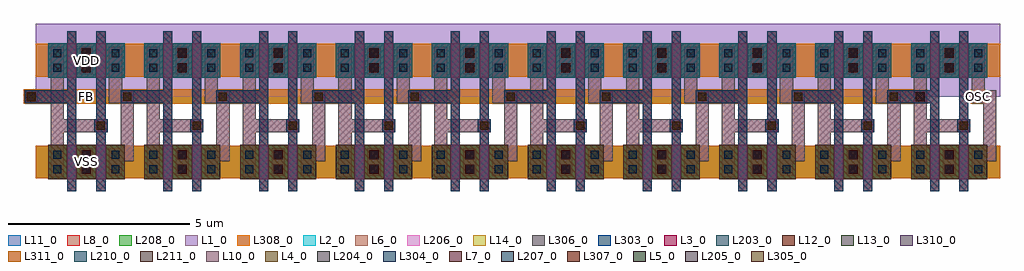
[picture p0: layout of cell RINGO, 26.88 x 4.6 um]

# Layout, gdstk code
import gdstk
lib = gdstk.Library(unit=1e-6, precision=1e-09)
def R(c, l, rs):  # rectangles x0, y0, x1, y1
    for r in rs: c.add(gdstk.rectangle(r[:2], r[2:], *l))
def A(c, l, x, y, w, h, nx, ny, dx, dy):  # array of equal rectangles
    R(c, l, [(x+i*dx, y+j*dy, x+i*dx+w, y+j*dy+h) for i in range(nx) for j in range(ny)])
def P(c, l, *ps):  # polygons
    for p in ps: c.add(gdstk.Polygon(p, *l))
L1_0 = (1, 0)
L2_0 = (2, 0)
L3_0 = (3, 0)
L4_0 = (4, 0)
L5_0 = (5, 0)
L6_0 = (6, 0)
L7_0 = (7, 0)
L8_0 = (8, 0)
L10_0 = (10, 0)
L11_0 = (11, 0)
L12_0 = (12, 0)
L13_0 = (13, 0)
L14_0 = (14, 0)
L203_0 = (203, 0)
L204_0 = (204, 0)
L205_0 = (205, 0)
L206_0 = (206, 0)
L207_0 = (207, 0)
L208_0 = (208, 0)
L210_0 = (210, 0)
L211_0 = (211, 0)
L303_0 = (303, 0)
L304_0 = (304, 0)
L305_0 = (305, 0)
L306_0 = (306, 0)
L307_0 = (307, 0)
L308_0 = (308, 0)
L310_0 = (310, 0)
L311_0 = (311, 0)

net_trans__1 = lib.new_cell('NET_TRANS_$1')
R(net_trans__1, L204_0, [(-0.51,-0.31,-0.29,-0.09), (-0.51,0.09,-0.29,0.31)])
R(net_trans__1, L206_0, [(-0.58,-0.38,-0.22,0.38)])

net_trans__2 = lib.new_cell('NET_TRANS_$2')
R(net_trans__2, L204_0, [(0.29,-0.31,0.51,-0.09), (0.29,0.09,0.51,0.31)])
R(net_trans__2, L206_0, [(0.22,-0.38,0.58,0.38)])

net_trans__3 = lib.new_cell('NET_TRANS_$3')
R(net_trans__3, L203_0, [(-0.125,-0.8,0.125,0.8)])

trans = lib.new_cell('TRANS')
R(trans, L2_0, [(-0.65,-0.475,0.65,0.475)])
R(trans, L4_0, [(-0.51,-0.31,-0.29,-0.09), (0.29,-0.31,0.51,-0.09), (-0.51,0.09,-0.29,0.31), (0.29,0.09,0.51,0.31)])
R(trans, L6_0, [(-0.58,-0.38,-0.22,0.38), (0.22,-0.38,0.58,0.38)])
R(trans, L14_0, [(-0.125,-0.8,0.125,0.8)])
trans.add(gdstk.FlexPath([(0,-0.8),(0,0.8)], 0.25, ends="flush", simple_path=True, layer=3, datatype=0))  # L3_0
trans.add(gdstk.Reference(net_trans__1, (0,0)))
trans.add(gdstk.Reference(net_trans__2, (0,0)))
trans.add(gdstk.Reference(net_trans__3, (0,0)))

net_inv2_in = lib.new_cell('NET_INV2_IN')
R(net_inv2_in, L203_0, [(-0.525,-0.25,-0.275,2.25), (-1.7,1.62,-0.4,1.98)])
R(net_inv2_in, L205_0, [(-1.63,1.69,-1.41,1.91)])

net_inv2__2 = lib.new_cell('NET_INV2_$2')
R(net_inv2__2, L203_0, [(0.275,-0.25,0.525,2.25), (0.22,0.82,0.58,1.18)])
R(net_inv2__2, L205_0, [(0.29,0.89,0.51,1.11)])
R(net_inv2__2, L206_0, [(-0.98,-0.42,-0.62,2.42), (-0.8,0.82,0.58,1.18)])
R(net_inv2__2, L210_0, [(-1.05,2.325,-0.525,3.275)])
R(net_inv2__2, L211_0, [(-1.05,-0.475,-0.525,0.475)])

net_inv2_out = lib.new_cell('NET_INV2_OUT')
P(net_inv2_out, L206_0, [(0.8,0.02),(0.8,0.38),(0.94,0.38),(0.94,1.62),(0.62,1.62),(0.62,2.42),(0.98,2.42),(0.98,1.98),(1.3,1.98),(1.3,0.02)])
R(net_inv2_out, L210_0, [(0.525,2.325,1.05,3.275)])
R(net_inv2_out, L211_0, [(0.525,-0.475,1.05,0.475)])

net_inv2__4 = lib.new_cell('NET_INV2_$4')
R(net_inv2__4, L207_0, [(-0.125,-0.325,0.125,-0.075), (-0.125,0.075,0.125,0.325)])
R(net_inv2__4, L208_0, [(-1.4,-0.45,1.4,0.45)])
R(net_inv2__4, L211_0, [(-0.275,-0.475,0.275,0.475)])

net_inv2__5 = lib.new_cell('NET_INV2_$5')
R(net_inv2__5, L207_0, [(-0.125,2.475,0.125,2.725), (-0.125,2.875,0.125,3.125)])
R(net_inv2__5, L208_0, [(-1.4,2.35,1.4,3.25)])
R(net_inv2__5, L210_0, [(-0.275,2.325,0.275,3.275)])

inv2 = lib.new_cell('INV2')
R(inv2, L1_0, [(-1.4,1.8,1.4,3.8)])
R(inv2, L3_0, [(-0.525,-0.25,-0.275,2.25), (0.275,-0.25,0.525,2.25), (0.22,0.82,0.58,1.18), (-1.7,1.62,-0.4,1.98)])
R(inv2, L5_0, [(0.29,0.89,0.51,1.11), (-1.63,1.69,-1.41,1.91)])
R(inv2, L6_0, [(-0.98,-0.42,-0.62,2.42), (-0.8,0.82,0.58,1.18)])
R(inv2, L7_0, [(-0.125,-0.325,0.125,-0.075), (-0.125,0.075,0.125,0.325), (-0.125,2.475,0.125,2.725), (-0.125,2.875,0.125,3.125)])
R(inv2, L8_0, [(-1.4,-0.45,1.4,0.45), (-1.4,2.35,1.4,3.25)])
R(inv2, L10_0, [(-0.525,-0.475,-0.275,0.475), (0.275,-0.475,0.525,0.475), (-0.525,2.325,-0.275,3.275), (0.275,2.325,0.525,3.275)])
R(inv2, L11_0, [(-1.05,-0.475,-0.525,0.475), (-0.275,-0.475,0.275,0.475), (0.525,-0.475,1.05,0.475), (-1.05,2.325,-0.525,3.275), (-0.275,2.325,0.275,3.275), (0.525,2.325,1.05,3.275)])
R(inv2, L12_0, [(-1.05,2.325,-0.525,3.275), (-0.275,2.325,0.275,3.275), (0.525,2.325,1.05,3.275)])
R(inv2, L13_0, [(-1.05,-0.475,-0.525,0.475), (-0.275,-0.475,0.275,0.475), (0.525,-0.475,1.05,0.475)])
R(inv2, L14_0, [(-0.525,-0.25,-0.275,2.25), (0.275,-0.25,0.525,2.25), (0.22,0.82,0.58,1.18), (-1.7,1.62,-0.4,1.98)])
inv2.add(gdstk.FlexPath([(0.8,0.2),(1.12,0.2),(1.12,1.8),(0.8,1.8),(0.8,2.42)], 0.36, ends="flush", simple_path=True, layer=6, datatype=0))  # L6_0
inv2.add(gdstk.Reference(trans, (-0.4,0)))
inv2.add(gdstk.Reference(trans, (-0.4,2.8)))
inv2.add(gdstk.Reference(trans, (0.4,0), x_reflection=True))
inv2.add(gdstk.Reference(trans, (0.4,2.8), x_reflection=True))
inv2.add(gdstk.Reference(net_inv2_in, (0,0)))
inv2.add(gdstk.Reference(net_inv2__2, (0,0)))
inv2.add(gdstk.Reference(net_inv2_out, (0,0)))
inv2.add(gdstk.Reference(net_inv2__4, (0,0)))
inv2.add(gdstk.Reference(net_inv2__5, (0,0)))
inv2.add(gdstk.Label('IN', (-0.8,1.8), layer=3, texttype=1))
inv2.add(gdstk.Label('OUT', (0.8,1.8), layer=6, texttype=1))

rnet_block__i28 = lib.new_cell('RNET_BLOCK_$I28')
R(rnet_block__i28, L303_0, [(1.975,0,2.225,1.6), (1.975,0.325,2.225,1.275), (1.975,0.55,2.225,3.05), (1.92,1.62,2.28,1.98), (1.975,2.8,2.225,4.4), (1.975,3.125,2.225,4.075)])
R(rnet_block__i28, L304_0, [(0.79,0.49,1.01,0.71), (0.79,0.89,1.01,1.11), (0.79,3.29,1.01,3.51), (0.79,3.69,1.01,3.91)])
R(rnet_block__i28, L305_0, [(1.99,1.69,2.21,1.91)])
R(rnet_block__i28, L306_0, [(0.72,0.38,1.08,3.22), (0.72,0.42,1.08,1.18), (0.9,1.62,2.28,1.98), (0.72,3.22,1.08,3.98)])
R(rnet_block__i28, L310_0, [(0.65,3.125,1.175,4.075), (0.65,3.125,1.175,4.075)])
R(rnet_block__i28, L311_0, [(0.65,0.325,1.175,1.275), (0.65,0.325,1.175,1.275)])

rnet_block__i23 = lib.new_cell('RNET_BLOCK_$I23')
R(rnet_block__i23, L303_0, [(12.535,0,12.785,1.6), (12.535,0.325,12.785,1.275), (12.535,0.55,12.785,3.05), (12.48,1.62,12.84,1.98), (12.535,2.8,12.785,4.4), (12.535,3.125,12.785,4.075)])
R(rnet_block__i23, L304_0, [(11.35,0.49,11.57,0.71), (11.35,0.89,11.57,1.11), (11.35,3.29,11.57,3.51), (11.35,3.69,11.57,3.91)])
R(rnet_block__i23, L305_0, [(12.55,1.69,12.77,1.91)])
R(rnet_block__i23, L306_0, [(11.28,0.38,11.64,3.22), (11.28,0.42,11.64,1.18), (11.46,1.62,12.84,1.98), (11.28,3.22,11.64,3.98)])
R(rnet_block__i23, L310_0, [(11.21,3.125,11.735,4.075), (11.21,3.125,11.735,4.075)])
R(rnet_block__i23, L311_0, [(11.21,0.325,11.735,1.275), (11.21,0.325,11.735,1.275)])

rnet_block__i22 = lib.new_cell('RNET_BLOCK_$I22')
R(rnet_block__i22, L303_0, [(9.895,0,10.145,1.6), (9.895,0.325,10.145,1.275), (9.895,0.55,10.145,3.05), (9.84,1.62,10.2,1.98), (9.895,2.8,10.145,4.4), (9.895,3.125,10.145,4.075)])
R(rnet_block__i22, L304_0, [(8.71,0.49,8.93,0.71), (8.71,0.89,8.93,1.11), (8.71,3.29,8.93,3.51), (8.71,3.69,8.93,3.91)])
R(rnet_block__i22, L305_0, [(9.91,1.69,10.13,1.91)])
R(rnet_block__i22, L306_0, [(8.64,0.38,9,3.22), (8.64,0.42,9,1.18), (8.82,1.62,10.2,1.98), (8.64,3.22,9,3.98)])
R(rnet_block__i22, L310_0, [(8.57,3.125,9.095,4.075), (8.57,3.125,9.095,4.075)])
R(rnet_block__i22, L311_0, [(8.57,0.325,9.095,1.275), (8.57,0.325,9.095,1.275)])

rnet_block__i21 = lib.new_cell('RNET_BLOCK_$I21')
R(rnet_block__i21, L303_0, [(7.255,0,7.505,1.6), (7.255,0.325,7.505,1.275), (7.255,0.55,7.505,3.05), (7.2,1.62,7.56,1.98), (7.255,2.8,7.505,4.4), (7.255,3.125,7.505,4.075)])
R(rnet_block__i21, L304_0, [(6.07,0.49,6.29,0.71), (6.07,0.89,6.29,1.11), (6.07,3.29,6.29,3.51), (6.07,3.69,6.29,3.91)])
R(rnet_block__i21, L305_0, [(7.27,1.69,7.49,1.91)])
R(rnet_block__i21, L306_0, [(6,0.38,6.36,3.22), (6,0.42,6.36,1.18), (6.18,1.62,7.56,1.98), (6,3.22,6.36,3.98)])
R(rnet_block__i21, L310_0, [(5.93,3.125,6.455,4.075), (5.93,3.125,6.455,4.075)])
R(rnet_block__i21, L311_0, [(5.93,0.325,6.455,1.275), (5.93,0.325,6.455,1.275)])

rnet_block__i2 = lib.new_cell('RNET_BLOCK_$I2')
R(rnet_block__i2, L303_0, [(11.735,0,11.985,1.6), (11.735,0.325,11.985,1.275), (11.735,0.55,11.985,3.05), (10.56,2.42,11.86,2.78), (11.735,2.8,11.985,4.4), (11.735,3.125,11.985,4.075)])
R(rnet_block__i2, L304_0, [(10.31,0.49,10.53,0.71), (10.31,0.89,10.53,1.11), (10.31,3.29,10.53,3.51), (10.31,3.69,10.53,3.91)])
R(rnet_block__i2, L305_0, [(10.63,2.49,10.85,2.71)])
R(rnet_block__i2, L306_0, [(10.24,0.42,10.6,1.18), (10.24,3.22,10.6,3.98)])
P(rnet_block__i2, L306_0, [(10.42,0.82),(10.42,1.18),(10.56,1.18),(10.56,2.42),(10.24,2.42),(10.24,3.22),(10.6,3.22),(10.6,2.78),(10.92,2.78),(10.92,0.82)])
R(rnet_block__i2, L310_0, [(10.145,3.125,10.67,4.075), (10.145,3.125,10.67,4.075)])
R(rnet_block__i2, L311_0, [(10.145,0.325,10.67,1.275), (10.145,0.325,10.67,1.275)])

rnet_block__i1 = lib.new_cell('RNET_BLOCK_$I1')
R(rnet_block__i1, L303_0, [(9.095,0,9.345,1.6), (9.095,0.325,9.345,1.275), (9.095,0.55,9.345,3.05), (7.92,2.42,9.22,2.78), (9.095,2.8,9.345,4.4), (9.095,3.125,9.345,4.075)])
R(rnet_block__i1, L304_0, [(7.67,0.49,7.89,0.71), (7.67,0.89,7.89,1.11), (7.67,3.29,7.89,3.51), (7.67,3.69,7.89,3.91)])
R(rnet_block__i1, L305_0, [(7.99,2.49,8.21,2.71)])
R(rnet_block__i1, L306_0, [(7.6,0.42,7.96,1.18), (7.6,3.22,7.96,3.98)])
P(rnet_block__i1, L306_0, [(7.78,0.82),(7.78,1.18),(7.92,1.18),(7.92,2.42),(7.6,2.42),(7.6,3.22),(7.96,3.22),(7.96,2.78),(8.28,2.78),(8.28,0.82)])
R(rnet_block__i1, L310_0, [(7.505,3.125,8.03,4.075), (7.505,3.125,8.03,4.075)])
R(rnet_block__i1, L311_0, [(7.505,0.325,8.03,1.275), (7.505,0.325,8.03,1.275)])

d_pmos = lib.new_cell('D$PMOS')
R(d_pmos, L11_0, [(-0.65,-0.475,-0.125,0.475), (0.125,-0.475,0.675,0.475)])
R(d_pmos, L12_0, [(-0.65,-0.475,-0.125,0.475), (0.125,-0.475,0.675,0.475)])
R(d_pmos, L14_0, [(-0.125,-0.475,0.125,0.475)])

d_pmos_1 = lib.new_cell('D$PMOS$1')
R(d_pmos_1, L11_0, [(-0.675,-0.475,-0.125,0.475), (0.125,-0.475,0.65,0.475)])
R(d_pmos_1, L12_0, [(-0.675,-0.475,-0.125,0.475), (0.125,-0.475,0.65,0.475)])
R(d_pmos_1, L14_0, [(-0.125,-0.475,0.125,0.475)])

d_nmos = lib.new_cell('D$NMOS')
R(d_nmos, L11_0, [(-0.65,-0.475,-0.125,0.475), (0.125,-0.475,0.675,0.475)])
R(d_nmos, L13_0, [(-0.65,-0.475,-0.125,0.475), (0.125,-0.475,0.675,0.475)])
R(d_nmos, L14_0, [(-0.125,-0.475,0.125,0.475)])

d_nmos_1 = lib.new_cell('D$NMOS$1')
R(d_nmos_1, L11_0, [(-0.675,-0.475,-0.125,0.475), (0.125,-0.475,0.65,0.475)])
R(d_nmos_1, L13_0, [(-0.675,-0.475,-0.125,0.475), (0.125,-0.475,0.65,0.475)])
R(d_nmos_1, L14_0, [(-0.125,-0.475,0.125,0.475)])

block = lib.new_cell('BLOCK')
block.add(gdstk.Reference(inv2, (1.7,0.8)))
block.add(gdstk.Reference(inv2, (6.98,0.8)))
block.add(gdstk.Reference(inv2, (9.62,0.8)))
block.add(gdstk.Reference(inv2, (12.26,0.8)))
r = gdstk.Reference(inv2, (4.34,0.8)); r.repetition = gdstk.Repetition(2, 1, v1=(2.64,0), v2=(0,0)); block.add(r)
block.add(gdstk.Reference(rnet_block__i28, (0,0)))
block.add(gdstk.Reference(rnet_block__i23, (0,0)))
block.add(gdstk.Reference(rnet_block__i22, (0,0)))
block.add(gdstk.Reference(rnet_block__i21, (0,0)))
block.add(gdstk.Reference(rnet_block__i2, (0,0)))
block.add(gdstk.Reference(rnet_block__i1, (0,0)))
block.add(gdstk.Reference(d_pmos, (6.58,3.6)))
block.add(gdstk.Reference(d_pmos, (11.86,3.6)))
block.add(gdstk.Reference(d_pmos, (1.3,3.6)))
block.add(gdstk.Reference(d_pmos, (9.22,3.6)))
block.add(gdstk.Reference(d_pmos_1, (10.02,3.6)))
block.add(gdstk.Reference(d_pmos_1, (2.1,3.6)))
block.add(gdstk.Reference(d_pmos_1, (12.66,3.6)))
block.add(gdstk.Reference(d_pmos_1, (7.38,3.6)))
block.add(gdstk.Reference(d_nmos, (6.58,0.8)))
block.add(gdstk.Reference(d_nmos, (11.86,0.8)))
block.add(gdstk.Reference(d_nmos, (9.22,0.8)))
block.add(gdstk.Reference(d_nmos, (1.3,0.8)))
block.add(gdstk.Reference(d_nmos_1, (7.38,0.8)))
block.add(gdstk.Reference(d_nmos_1, (12.66,0.8)))
block.add(gdstk.Reference(d_nmos_1, (10.02,0.8)))
block.add(gdstk.Reference(d_nmos_1, (2.1,0.8)))

net_ringo_fb = lib.new_cell('NET_RINGO_FB')
R(net_ringo_fb, L206_0, [(-1.7,1.62,-1.34,1.98)])
R(net_ringo_fb, L207_0, [(-1.645,1.675,-1.395,1.925), (22.835,1.675,23.085,1.925)])
R(net_ringo_fb, L208_0, [(-1.72,1.6,23.16,2)])

net_ringo_osc = lib.new_cell('NET_RINGO_OSC')
R(net_ringo_osc, L207_0, [(24.435,1.675,24.685,1.925)])
R(net_ringo_osc, L208_0, [(24.36,1.6,24.76,2)])

rnet_ringo_fb = lib.new_cell('RNET_RINGO_FB')
R(rnet_ringo_fb, L303_0, [(-0.525,-0.8,-0.275,0.8), (24.035,-0.8,24.285,0.8), (-0.525,-0.475,-0.275,0.475), (24.035,-0.475,24.285,0.475), (-0.525,-0.25,-0.275,2.25), (24.035,-0.25,24.285,2.25), (23.98,0.82,24.34,1.18), (-1.7,1.62,-0.4,1.98), (-0.525,2,-0.275,3.6), (24.035,2,24.285,3.6), (-0.525,2.325,-0.275,3.275), (24.035,2.325,24.285,3.275)])
R(rnet_ringo_fb, L304_0, [(22.85,-0.31,23.07,-0.09), (22.85,0.09,23.07,0.31), (22.85,2.49,23.07,2.71), (22.85,2.89,23.07,3.11)])
R(rnet_ringo_fb, L305_0, [(24.05,0.89,24.27,1.11), (-1.63,1.69,-1.41,1.91)])
R(rnet_ringo_fb, L306_0, [(22.78,-0.42,23.14,2.42), (22.78,-0.38,23.14,0.38), (22.96,0.82,24.34,1.18), (-1.7,1.62,-1.34,1.98), (22.78,2.42,23.14,3.18)])
R(rnet_ringo_fb, L307_0, [(-1.645,1.675,-1.395,1.925), (22.835,1.675,23.085,1.925)])
R(rnet_ringo_fb, L308_0, [(-1.72,1.6,23.16,2)])
R(rnet_ringo_fb, L310_0, [(22.71,2.325,23.235,3.275), (22.71,2.325,23.235,3.275)])
R(rnet_ringo_fb, L311_0, [(22.71,-0.475,23.235,0.475), (22.71,-0.475,23.235,0.475)])

rnet_ringo_osc = lib.new_cell('RNET_RINGO_OSC')
R(rnet_ringo_osc, L304_0, [(24.45,-0.31,24.67,-0.09), (24.45,0.09,24.67,0.31), (24.45,2.49,24.67,2.71), (24.45,2.89,24.67,3.11)])
R(rnet_ringo_osc, L306_0, [(24.38,-0.38,24.74,0.38), (24.38,2.42,24.74,3.18)])
P(rnet_ringo_osc, L306_0, [(24.56,0.02),(24.56,0.38),(24.7,0.38),(24.7,1.62),(24.38,1.62),(24.38,2.42),(24.74,2.42),(24.74,1.98),(25.06,1.98),(25.06,0.02)])
R(rnet_ringo_osc, L307_0, [(24.435,1.675,24.685,1.925)])
R(rnet_ringo_osc, L308_0, [(24.36,1.6,24.76,2)])
R(rnet_ringo_osc, L310_0, [(24.285,2.325,24.81,3.275), (24.285,2.325,24.81,3.275)])
R(rnet_ringo_osc, L311_0, [(24.285,-0.475,24.81,0.475), (24.285,-0.475,24.81,0.475)])

rnet_ringo_vss = lib.new_cell('RNET_RINGO_VSS')
R(rnet_ringo_vss, L304_0, [(-0.11,-0.31,0.11,-0.09), (-0.11,-0.31,0.11,-0.09), (2.53,-0.31,2.75,-0.09), (2.53,-0.31,2.75,-0.09), (5.17,-0.31,5.39,-0.09), (5.17,-0.31,5.39,-0.09), (7.81,-0.31,8.03,-0.09), (7.81,-0.31,8.03,-0.09), (10.45,-0.31,10.67,-0.09), (10.45,-0.31,10.67,-0.09), (13.09,-0.31,13.31,-0.09), (13.09,-0.31,13.31,-0.09), (13.09,-0.31,13.31,-0.09), (13.09,-0.31,13.31,-0.09), (15.73,-0.31,15.95,-0.09), (15.73,-0.31,15.95,-0.09), (18.37,-0.31,18.59,-0.09), (18.37,-0.31,18.59,-0.09), (21.01,-0.31,21.23,-0.09), (21.01,-0.31,21.23,-0.09), (23.65,-0.31,23.87,-0.09), (23.65,-0.31,23.87,-0.09), (-0.11,0.09,0.11,0.31), (-0.11,0.09,0.11,0.31), (2.53,0.09,2.75,0.31), (2.53,0.09,2.75,0.31), (5.17,0.09,5.39,0.31), (5.17,0.09,5.39,0.31), (7.81,0.09,8.03,0.31), (7.81,0.09,8.03,0.31), (10.45,0.09,10.67,0.31), (10.45,0.09,10.67,0.31), (13.09,0.09,13.31,0.31), (13.09,0.09,13.31,0.31), (13.09,0.09,13.31,0.31), (13.09,0.09,13.31,0.31), (15.73,0.09,15.95,0.31), (15.73,0.09,15.95,0.31), (18.37,0.09,18.59,0.31), (18.37,0.09,18.59,0.31), (21.01,0.09,21.23,0.31), (21.01,0.09,21.23,0.31), (23.65,0.09,23.87,0.31), (23.65,0.09,23.87,0.31)])
R(rnet_ringo_vss, L306_0, [(-0.18,-0.38,0.18,0.38), (-0.18,-0.38,0.18,0.38), (2.46,-0.38,2.82,0.38), (2.46,-0.38,2.82,0.38), (5.1,-0.38,5.46,0.38), (5.1,-0.38,5.46,0.38), (7.74,-0.38,8.1,0.38), (7.74,-0.38,8.1,0.38), (10.38,-0.38,10.74,0.38), (10.38,-0.38,10.74,0.38), (13.02,-0.38,13.38,0.38), (13.02,-0.38,13.38,0.38), (13.02,-0.38,13.38,0.38), (13.02,-0.38,13.38,0.38), (15.66,-0.38,16.02,0.38), (15.66,-0.38,16.02,0.38), (18.3,-0.38,18.66,0.38), (18.3,-0.38,18.66,0.38), (20.94,-0.38,21.3,0.38), (20.94,-0.38,21.3,0.38), (23.58,-0.38,23.94,0.38), (23.58,-0.38,23.94,0.38)])
A(rnet_ringo_vss, L307_0, -0.125, -0.325, 0.25, 0.25, 6, 2, 2.64, 0.4)
A(rnet_ringo_vss, L307_0, 13.075, -0.325, 0.25, 0.25, 5, 2, 2.64, 0.4)
A(rnet_ringo_vss, L308_0, -1.4, -0.45, 2.8, 0.9, 6, 1, 2.64, 0)
A(rnet_ringo_vss, L308_0, 11.8, -0.45, 2.8, 0.9, 5, 1, 2.64, 0)
R(rnet_ringo_vss, L311_0, [(-0.275,-0.475,0.275,0.475), (-0.275,-0.475,0.275,0.475), (-0.275,-0.475,0.275,0.475), (2.365,-0.475,2.915,0.475), (2.365,-0.475,2.915,0.475), (2.365,-0.475,2.915,0.475), (5.005,-0.475,5.555,0.475), (5.005,-0.475,5.555,0.475), (5.005,-0.475,5.555,0.475), (7.645,-0.475,8.195,0.475), (7.645,-0.475,8.195,0.475), (7.645,-0.475,8.195,0.475), (10.285,-0.475,10.835,0.475), (10.285,-0.475,10.835,0.475), (10.285,-0.475,10.835,0.475), (12.925,-0.475,13.475,0.475), (12.925,-0.475,13.475,0.475), (12.925,-0.475,13.475,0.475), (12.925,-0.475,13.475,0.475), (15.565,-0.475,16.115,0.475), (15.565,-0.475,16.115,0.475), (15.565,-0.475,16.115,0.475), (18.205,-0.475,18.755,0.475), (18.205,-0.475,18.755,0.475), (18.205,-0.475,18.755,0.475), (20.845,-0.475,21.395,0.475), (20.845,-0.475,21.395,0.475), (20.845,-0.475,21.395,0.475), (23.485,-0.475,24.035,0.475), (23.485,-0.475,24.035,0.475), (23.485,-0.475,24.035,0.475)])

rnet_ringo_vdd = lib.new_cell('RNET_RINGO_VDD')
R(rnet_ringo_vdd, L304_0, [(-0.11,2.49,0.11,2.71), (-0.11,2.49,0.11,2.71), (2.53,2.49,2.75,2.71), (2.53,2.49,2.75,2.71), (5.17,2.49,5.39,2.71), (5.17,2.49,5.39,2.71), (7.81,2.49,8.03,2.71), (7.81,2.49,8.03,2.71), (10.45,2.49,10.67,2.71), (10.45,2.49,10.67,2.71), (13.09,2.49,13.31,2.71), (13.09,2.49,13.31,2.71), (13.09,2.49,13.31,2.71), (13.09,2.49,13.31,2.71), (15.73,2.49,15.95,2.71), (15.73,2.49,15.95,2.71), (18.37,2.49,18.59,2.71), (18.37,2.49,18.59,2.71), (21.01,2.49,21.23,2.71), (21.01,2.49,21.23,2.71), (23.65,2.49,23.87,2.71), (23.65,2.49,23.87,2.71), (-0.11,2.89,0.11,3.11), (-0.11,2.89,0.11,3.11), (2.53,2.89,2.75,3.11), (2.53,2.89,2.75,3.11), (5.17,2.89,5.39,3.11), (5.17,2.89,5.39,3.11), (7.81,2.89,8.03,3.11), (7.81,2.89,8.03,3.11), (10.45,2.89,10.67,3.11), (10.45,2.89,10.67,3.11), (13.09,2.89,13.31,3.11), (13.09,2.89,13.31,3.11), (13.09,2.89,13.31,3.11), (13.09,2.89,13.31,3.11), (15.73,2.89,15.95,3.11), (15.73,2.89,15.95,3.11), (18.37,2.89,18.59,3.11), (18.37,2.89,18.59,3.11), (21.01,2.89,21.23,3.11), (21.01,2.89,21.23,3.11), (23.65,2.89,23.87,3.11), (23.65,2.89,23.87,3.11)])
R(rnet_ringo_vdd, L306_0, [(-0.18,2.42,0.18,3.18), (-0.18,2.42,0.18,3.18), (2.46,2.42,2.82,3.18), (2.46,2.42,2.82,3.18), (5.1,2.42,5.46,3.18), (5.1,2.42,5.46,3.18), (7.74,2.42,8.1,3.18), (7.74,2.42,8.1,3.18), (10.38,2.42,10.74,3.18), (10.38,2.42,10.74,3.18), (13.02,2.42,13.38,3.18), (13.02,2.42,13.38,3.18), (13.02,2.42,13.38,3.18), (13.02,2.42,13.38,3.18), (15.66,2.42,16.02,3.18), (15.66,2.42,16.02,3.18), (18.3,2.42,18.66,3.18), (18.3,2.42,18.66,3.18), (20.94,2.42,21.3,3.18), (20.94,2.42,21.3,3.18), (23.58,2.42,23.94,3.18), (23.58,2.42,23.94,3.18)])
A(rnet_ringo_vdd, L307_0, -0.125, 2.475, 0.25, 0.25, 6, 2, 2.64, 0.4)
A(rnet_ringo_vdd, L307_0, 13.075, 2.475, 0.25, 0.25, 5, 2, 2.64, 0.4)
A(rnet_ringo_vdd, L308_0, -1.4, 2.35, 2.8, 0.9, 6, 1, 2.64, 0)
A(rnet_ringo_vdd, L308_0, 11.8, 2.35, 2.8, 0.9, 5, 1, 2.64, 0)
R(rnet_ringo_vdd, L310_0, [(-0.275,2.325,0.275,3.275), (-0.275,2.325,0.275,3.275), (-0.275,2.325,0.275,3.275), (2.365,2.325,2.915,3.275), (2.365,2.325,2.915,3.275), (2.365,2.325,2.915,3.275), (5.005,2.325,5.555,3.275), (5.005,2.325,5.555,3.275), (5.005,2.325,5.555,3.275), (7.645,2.325,8.195,3.275), (7.645,2.325,8.195,3.275), (7.645,2.325,8.195,3.275), (10.285,2.325,10.835,3.275), (10.285,2.325,10.835,3.275), (10.285,2.325,10.835,3.275), (12.925,2.325,13.475,3.275), (12.925,2.325,13.475,3.275), (12.925,2.325,13.475,3.275), (12.925,2.325,13.475,3.275), (15.565,2.325,16.115,3.275), (15.565,2.325,16.115,3.275), (15.565,2.325,16.115,3.275), (18.205,2.325,18.755,3.275), (18.205,2.325,18.755,3.275), (18.205,2.325,18.755,3.275), (20.845,2.325,21.395,3.275), (20.845,2.325,21.395,3.275), (20.845,2.325,21.395,3.275), (23.485,2.325,24.035,3.275), (23.485,2.325,24.035,3.275), (23.485,2.325,24.035,3.275)])

rnet_ringo__i36 = lib.new_cell('RNET_RINGO_$I36')
R(rnet_ringo__i36, L303_0, [(0.275,-0.8,0.525,0.8), (0.275,-0.475,0.525,0.475), (0.275,-0.25,0.525,2.25), (0.22,0.82,0.58,1.18), (0.275,2,0.525,3.6), (0.275,2.325,0.525,3.275)])
R(rnet_ringo__i36, L304_0, [(-0.91,-0.31,-0.69,-0.09), (-0.91,0.09,-0.69,0.31), (-0.91,2.49,-0.69,2.71), (-0.91,2.89,-0.69,3.11)])
R(rnet_ringo__i36, L305_0, [(0.29,0.89,0.51,1.11)])
R(rnet_ringo__i36, L306_0, [(-0.98,-0.42,-0.62,2.42), (-0.98,-0.38,-0.62,0.38), (-0.8,0.82,0.58,1.18), (-0.98,2.42,-0.62,3.18)])
R(rnet_ringo__i36, L310_0, [(-1.05,2.325,-0.525,3.275), (-1.05,2.325,-0.525,3.275)])
R(rnet_ringo__i36, L311_0, [(-1.05,-0.475,-0.525,0.475), (-1.05,-0.475,-0.525,0.475)])

rnet_ringo__i34 = lib.new_cell('RNET_RINGO_$I34')
R(rnet_ringo__i34, L303_0, [(13.475,-0.8,13.725,0.8), (13.475,-0.8,13.725,0.8), (13.475,-0.475,13.725,0.475), (13.475,-0.25,13.725,2.25), (13.475,-0.25,13.725,2.25), (13.42,0.82,13.78,1.18), (13.42,0.82,13.78,1.18), (13.475,2,13.725,3.6), (13.475,2,13.725,3.6), (13.475,2.325,13.725,3.275)])
R(rnet_ringo__i34, L304_0, [(12.29,-0.31,12.51,-0.09), (12.29,-0.31,12.51,-0.09), (12.29,0.09,12.51,0.31), (12.29,0.09,12.51,0.31), (12.29,2.49,12.51,2.71), (12.29,2.49,12.51,2.71), (12.29,2.89,12.51,3.11), (12.29,2.89,12.51,3.11)])
R(rnet_ringo__i34, L305_0, [(13.49,0.89,13.71,1.11), (13.49,0.89,13.71,1.11)])
R(rnet_ringo__i34, L306_0, [(12.22,-0.42,12.58,2.42), (12.22,-0.42,12.58,2.42), (12.22,-0.38,12.58,0.38), (12.22,-0.38,12.58,0.38), (12.4,0.82,13.78,1.18), (12.4,0.82,13.78,1.18), (12.22,2.42,12.58,3.18), (12.22,2.42,12.58,3.18)])
R(rnet_ringo__i34, L310_0, [(12.15,2.325,12.675,3.275), (12.15,2.325,12.675,3.275), (12.15,2.325,12.675,3.275)])
R(rnet_ringo__i34, L311_0, [(12.15,-0.475,12.675,0.475), (12.15,-0.475,12.675,0.475), (12.15,-0.475,12.675,0.475)])

rnet_ringo__i33 = lib.new_cell('RNET_RINGO_$I33')
R(rnet_ringo__i33, L303_0, [(8.195,-0.8,8.445,0.8), (8.195,-0.475,8.445,0.475), (8.195,-0.25,8.445,2.25), (8.14,0.82,8.5,1.18), (8.195,2,8.445,3.6), (8.195,2.325,8.445,3.275)])
R(rnet_ringo__i33, L304_0, [(7.01,-0.31,7.23,-0.09), (7.01,0.09,7.23,0.31), (7.01,2.49,7.23,2.71), (7.01,2.89,7.23,3.11)])
R(rnet_ringo__i33, L305_0, [(8.21,0.89,8.43,1.11)])
R(rnet_ringo__i33, L306_0, [(6.94,-0.42,7.3,2.42), (6.94,-0.38,7.3,0.38), (7.12,0.82,8.5,1.18), (6.94,2.42,7.3,3.18)])
R(rnet_ringo__i33, L310_0, [(6.87,2.325,7.395,3.275), (6.87,2.325,7.395,3.275)])
R(rnet_ringo__i33, L311_0, [(6.87,-0.475,7.395,0.475), (6.87,-0.475,7.395,0.475)])

rnet_ringo__i32 = lib.new_cell('RNET_RINGO_$I32')
R(rnet_ringo__i32, L303_0, [(5.555,-0.8,5.805,0.8), (5.555,-0.475,5.805,0.475), (5.555,-0.25,5.805,2.25), (5.5,0.82,5.86,1.18), (5.555,2,5.805,3.6), (5.555,2.325,5.805,3.275)])
R(rnet_ringo__i32, L304_0, [(4.37,-0.31,4.59,-0.09), (4.37,0.09,4.59,0.31), (4.37,2.49,4.59,2.71), (4.37,2.89,4.59,3.11)])
R(rnet_ringo__i32, L305_0, [(5.57,0.89,5.79,1.11)])
R(rnet_ringo__i32, L306_0, [(4.3,-0.42,4.66,2.42), (4.3,-0.38,4.66,0.38), (4.48,0.82,5.86,1.18), (4.3,2.42,4.66,3.18)])
R(rnet_ringo__i32, L310_0, [(4.23,2.325,4.755,3.275), (4.23,2.325,4.755,3.275)])
R(rnet_ringo__i32, L311_0, [(4.23,-0.475,4.755,0.475), (4.23,-0.475,4.755,0.475)])

rnet_ringo__i31 = lib.new_cell('RNET_RINGO_$I31')
R(rnet_ringo__i31, L303_0, [(2.915,-0.8,3.165,0.8), (2.915,-0.475,3.165,0.475), (2.915,-0.25,3.165,2.25), (2.86,0.82,3.22,1.18), (2.915,2,3.165,3.6), (2.915,2.325,3.165,3.275)])
R(rnet_ringo__i31, L304_0, [(1.73,-0.31,1.95,-0.09), (1.73,0.09,1.95,0.31), (1.73,2.49,1.95,2.71), (1.73,2.89,1.95,3.11)])
R(rnet_ringo__i31, L305_0, [(2.93,0.89,3.15,1.11)])
R(rnet_ringo__i31, L306_0, [(1.66,-0.42,2.02,2.42), (1.66,-0.38,2.02,0.38), (1.84,0.82,3.22,1.18), (1.66,2.42,2.02,3.18)])
R(rnet_ringo__i31, L310_0, [(1.59,2.325,2.115,3.275), (1.59,2.325,2.115,3.275)])
R(rnet_ringo__i31, L311_0, [(1.59,-0.475,2.115,0.475), (1.59,-0.475,2.115,0.475)])

rnet_ringo__i11 = lib.new_cell('RNET_RINGO_$I11')
R(rnet_ringo__i11, L303_0, [(23.235,-0.8,23.485,0.8), (23.235,-0.475,23.485,0.475), (23.235,-0.25,23.485,2.25), (22.06,1.62,23.36,1.98), (23.235,2,23.485,3.6), (23.235,2.325,23.485,3.275)])
R(rnet_ringo__i11, L304_0, [(21.81,-0.31,22.03,-0.09), (21.81,0.09,22.03,0.31), (21.81,2.49,22.03,2.71), (21.81,2.89,22.03,3.11)])
R(rnet_ringo__i11, L305_0, [(22.13,1.69,22.35,1.91)])
R(rnet_ringo__i11, L306_0, [(21.74,-0.38,22.1,0.38), (21.74,2.42,22.1,3.18)])
P(rnet_ringo__i11, L306_0, [(21.92,0.02),(21.92,0.38),(22.06,0.38),(22.06,1.62),(21.74,1.62),(21.74,2.42),(22.1,2.42),(22.1,1.98),(22.42,1.98),(22.42,0.02)])
R(rnet_ringo__i11, L310_0, [(21.645,2.325,22.17,3.275), (21.645,2.325,22.17,3.275)])
R(rnet_ringo__i11, L311_0, [(21.645,-0.475,22.17,0.475), (21.645,-0.475,22.17,0.475)])

rnet_ringo__i10 = lib.new_cell('RNET_RINGO_$I10')
R(rnet_ringo__i10, L303_0, [(12.675,-0.8,12.925,0.8), (12.675,-0.8,12.925,0.8), (12.675,-0.475,12.925,0.475), (12.675,-0.25,12.925,2.25), (12.675,-0.25,12.925,2.25), (11.5,1.62,12.8,1.98), (11.5,1.62,12.8,1.98), (12.675,2,12.925,3.6), (12.675,2,12.925,3.6), (12.675,2.325,12.925,3.275)])
R(rnet_ringo__i10, L304_0, [(11.25,-0.31,11.47,-0.09), (11.25,0.09,11.47,0.31), (11.25,2.49,11.47,2.71), (11.25,2.89,11.47,3.11)])
R(rnet_ringo__i10, L305_0, [(11.57,1.69,11.79,1.91), (11.57,1.69,11.79,1.91)])
R(rnet_ringo__i10, L306_0, [(11.18,-0.38,11.54,0.38), (11.18,2.42,11.54,3.18)])
P(rnet_ringo__i10, L306_0, [(11.36,0.02),(11.36,0.38),(11.5,0.38),(11.5,1.62),(11.18,1.62),(11.18,2.42),(11.54,2.42),(11.54,1.98),(11.86,1.98),(11.86,0.02)])
R(rnet_ringo__i10, L310_0, [(11.085,2.325,11.61,3.275), (11.085,2.325,11.61,3.275)])
R(rnet_ringo__i10, L311_0, [(11.085,-0.475,11.61,0.475), (11.085,-0.475,11.61,0.475)])

rnet_ringo__i6 = lib.new_cell('RNET_RINGO_$I6')
R(rnet_ringo__i6, L303_0, [(2.115,-0.8,2.365,0.8), (2.115,-0.475,2.365,0.475), (2.115,-0.25,2.365,2.25), (0.94,1.62,2.24,1.98), (2.115,2,2.365,3.6), (2.115,2.325,2.365,3.275)])
R(rnet_ringo__i6, L304_0, [(0.69,-0.31,0.91,-0.09), (0.69,0.09,0.91,0.31), (0.69,2.49,0.91,2.71), (0.69,2.89,0.91,3.11)])
R(rnet_ringo__i6, L305_0, [(1.01,1.69,1.23,1.91)])
R(rnet_ringo__i6, L306_0, [(0.62,-0.38,0.98,0.38), (0.62,2.42,0.98,3.18)])
P(rnet_ringo__i6, L306_0, [(0.8,0.02),(0.8,0.38),(0.94,0.38),(0.94,1.62),(0.62,1.62),(0.62,2.42),(0.98,2.42),(0.98,1.98),(1.3,1.98),(1.3,0.02)])
R(rnet_ringo__i6, L310_0, [(0.525,2.325,1.05,3.275), (0.525,2.325,1.05,3.275)])
R(rnet_ringo__i6, L311_0, [(0.525,-0.475,1.05,0.475), (0.525,-0.475,1.05,0.475)])

rnet_ringo__i4 = lib.new_cell('RNET_RINGO_$I4')
R(rnet_ringo__i4, L303_0, [(15.315,-0.8,15.565,0.8), (15.315,-0.475,15.565,0.475), (15.315,-0.25,15.565,2.25), (14.14,1.62,15.44,1.98), (15.315,2,15.565,3.6), (15.315,2.325,15.565,3.275)])
R(rnet_ringo__i4, L304_0, [(13.89,-0.31,14.11,-0.09), (13.89,-0.31,14.11,-0.09), (13.89,0.09,14.11,0.31), (13.89,0.09,14.11,0.31), (13.89,2.49,14.11,2.71), (13.89,2.49,14.11,2.71), (13.89,2.89,14.11,3.11), (13.89,2.89,14.11,3.11)])
R(rnet_ringo__i4, L305_0, [(14.21,1.69,14.43,1.91)])
R(rnet_ringo__i4, L306_0, [(13.82,-0.38,14.18,0.38), (13.82,-0.38,14.18,0.38), (13.82,2.42,14.18,3.18), (13.82,2.42,14.18,3.18)])
P(rnet_ringo__i4, L306_0, [(14,0.02),(14,0.38),(14.14,0.38),(14.14,1.62),(13.82,1.62),(13.82,2.42),(14.18,2.42),(14.18,1.98),(14.5,1.98),(14.5,0.02)],
  [(14,0.02),(14,0.38),(14.14,0.38),(14.14,1.62),(13.82,1.62),(13.82,2.42),(14.18,2.42),(14.18,1.98),(14.5,1.98),(14.5,0.02)])
R(rnet_ringo__i4, L310_0, [(13.725,2.325,14.25,3.275), (13.725,2.325,14.25,3.275), (13.725,2.325,14.25,3.275)])
R(rnet_ringo__i4, L311_0, [(13.725,-0.475,14.25,0.475), (13.725,-0.475,14.25,0.475), (13.725,-0.475,14.25,0.475)])

rnet_ringo__i3 = lib.new_cell('RNET_RINGO_$I3')
R(rnet_ringo__i3, L303_0, [(10.035,-0.8,10.285,0.8), (10.035,-0.475,10.285,0.475), (10.035,-0.25,10.285,2.25), (8.86,1.62,10.16,1.98), (10.035,2,10.285,3.6), (10.035,2.325,10.285,3.275)])
R(rnet_ringo__i3, L304_0, [(8.61,-0.31,8.83,-0.09), (8.61,0.09,8.83,0.31), (8.61,2.49,8.83,2.71), (8.61,2.89,8.83,3.11)])
R(rnet_ringo__i3, L305_0, [(8.93,1.69,9.15,1.91)])
R(rnet_ringo__i3, L306_0, [(8.54,-0.38,8.9,0.38), (8.54,2.42,8.9,3.18)])
P(rnet_ringo__i3, L306_0, [(8.72,0.02),(8.72,0.38),(8.86,0.38),(8.86,1.62),(8.54,1.62),(8.54,2.42),(8.9,2.42),(8.9,1.98),(9.22,1.98),(9.22,0.02)])
R(rnet_ringo__i3, L310_0, [(8.445,2.325,8.97,3.275), (8.445,2.325,8.97,3.275)])
R(rnet_ringo__i3, L311_0, [(8.445,-0.475,8.97,0.475), (8.445,-0.475,8.97,0.475)])

rnet_ringo__i2 = lib.new_cell('RNET_RINGO_$I2')
R(rnet_ringo__i2, L303_0, [(7.395,-0.8,7.645,0.8), (7.395,-0.475,7.645,0.475), (7.395,-0.25,7.645,2.25), (6.22,1.62,7.52,1.98), (7.395,2,7.645,3.6), (7.395,2.325,7.645,3.275)])
R(rnet_ringo__i2, L304_0, [(5.97,-0.31,6.19,-0.09), (5.97,0.09,6.19,0.31), (5.97,2.49,6.19,2.71), (5.97,2.89,6.19,3.11)])
R(rnet_ringo__i2, L305_0, [(6.29,1.69,6.51,1.91)])
R(rnet_ringo__i2, L306_0, [(5.9,-0.38,6.26,0.38), (5.9,2.42,6.26,3.18)])
P(rnet_ringo__i2, L306_0, [(6.08,0.02),(6.08,0.38),(6.22,0.38),(6.22,1.62),(5.9,1.62),(5.9,2.42),(6.26,2.42),(6.26,1.98),(6.58,1.98),(6.58,0.02)])
R(rnet_ringo__i2, L310_0, [(5.805,2.325,6.33,3.275), (5.805,2.325,6.33,3.275)])
R(rnet_ringo__i2, L311_0, [(5.805,-0.475,6.33,0.475), (5.805,-0.475,6.33,0.475)])

rnet_ringo__i1 = lib.new_cell('RNET_RINGO_$I1')
R(rnet_ringo__i1, L303_0, [(4.755,-0.8,5.005,0.8), (4.755,-0.475,5.005,0.475), (4.755,-0.25,5.005,2.25), (3.58,1.62,4.88,1.98), (4.755,2,5.005,3.6), (4.755,2.325,5.005,3.275)])
R(rnet_ringo__i1, L304_0, [(3.33,-0.31,3.55,-0.09), (3.33,0.09,3.55,0.31), (3.33,2.49,3.55,2.71), (3.33,2.89,3.55,3.11)])
R(rnet_ringo__i1, L305_0, [(3.65,1.69,3.87,1.91)])
R(rnet_ringo__i1, L306_0, [(3.26,-0.38,3.62,0.38), (3.26,2.42,3.62,3.18)])
P(rnet_ringo__i1, L306_0, [(3.44,0.02),(3.44,0.38),(3.58,0.38),(3.58,1.62),(3.26,1.62),(3.26,2.42),(3.62,2.42),(3.62,1.98),(3.94,1.98),(3.94,0.02)])
R(rnet_ringo__i1, L310_0, [(3.165,2.325,3.69,3.275), (3.165,2.325,3.69,3.275)])
R(rnet_ringo__i1, L311_0, [(3.165,-0.475,3.69,0.475), (3.165,-0.475,3.69,0.475)])

ringo = lib.new_cell('RINGO')
R(ringo, L6_0, [(-1.7,1.62,-1.34,1.98)])
R(ringo, L7_0, [(-1.645,1.675,-1.395,1.925), (22.835,1.675,23.085,1.925), (24.435,1.675,24.685,1.925)])
R(ringo, L8_0, [(-1.72,1.6,23.16,2), (24.36,1.6,24.76,2)])
ringo.add(gdstk.Reference(inv2, (0,0)))
ringo.add(gdstk.Reference(inv2, (2.64,0)))
ringo.add(gdstk.Reference(inv2, (5.28,0)))
ringo.add(gdstk.Reference(inv2, (7.92,0)))
ringo.add(gdstk.Reference(inv2, (13.2,0)))
ringo.add(gdstk.Reference(inv2, (23.76,0)))
ringo.add(gdstk.Reference(inv2, (2.64,0)))
ringo.add(gdstk.Reference(block, (8.86,-0.8)))
ringo.add(gdstk.Reference(net_ringo_fb, (0,0)))
ringo.add(gdstk.Reference(net_ringo_osc, (0,0)))
ringo.add(gdstk.Reference(rnet_ringo_fb, (0,0)))
ringo.add(gdstk.Reference(rnet_ringo_osc, (0,0)))
ringo.add(gdstk.Reference(rnet_ringo_vss, (0,0)))
ringo.add(gdstk.Reference(rnet_ringo_vdd, (0,0)))
ringo.add(gdstk.Reference(rnet_ringo__i36, (0,0)))
ringo.add(gdstk.Reference(rnet_ringo__i34, (0,0)))
ringo.add(gdstk.Reference(rnet_ringo__i33, (0,0)))
ringo.add(gdstk.Reference(rnet_ringo__i32, (0,0)))
ringo.add(gdstk.Reference(rnet_ringo__i31, (0,0)))
ringo.add(gdstk.Reference(rnet_ringo__i11, (0,0)))
ringo.add(gdstk.Reference(rnet_ringo__i10, (0,0)))
ringo.add(gdstk.Reference(rnet_ringo__i6, (0,0)))
ringo.add(gdstk.Reference(rnet_ringo__i4, (0,0)))
ringo.add(gdstk.Reference(rnet_ringo__i3, (0,0)))
ringo.add(gdstk.Reference(rnet_ringo__i2, (0,0)))
ringo.add(gdstk.Reference(rnet_ringo__i1, (0,0)))
ringo.add(gdstk.Reference(d_pmos, (2.24,2.8)))
ringo.add(gdstk.Reference(d_pmos, (-0.4,2.8)))
ringo.add(gdstk.Reference(d_pmos, (4.88,2.8)))
ringo.add(gdstk.Reference(d_pmos, (7.52,2.8)))
ringo.add(gdstk.Reference(d_pmos, (12.8,2.8)))
ringo.add(gdstk.Reference(d_pmos, (23.36,2.8)))
ringo.add(gdstk.Reference(d_pmos_1, (8.32,2.8)))
ringo.add(gdstk.Reference(d_pmos_1, (5.68,2.8)))
ringo.add(gdstk.Reference(d_pmos_1, (24.16,2.8)))
ringo.add(gdstk.Reference(d_pmos_1, (3.04,2.8)))
ringo.add(gdstk.Reference(d_pmos_1, (0.4,2.8)))
ringo.add(gdstk.Reference(d_pmos_1, (13.6,2.8)))
ringo.add(gdstk.Reference(d_nmos, (23.36,0)))
ringo.add(gdstk.Reference(d_nmos, (2.24,0)))
ringo.add(gdstk.Reference(d_nmos, (4.88,0)))
ringo.add(gdstk.Reference(d_nmos, (7.52,0)))
ringo.add(gdstk.Reference(d_nmos, (12.8,0)))
ringo.add(gdstk.Reference(d_nmos, (-0.4,0)))
ringo.add(gdstk.Reference(d_nmos_1, (13.6,0)))
ringo.add(gdstk.Reference(d_nmos_1, (24.16,0)))
ringo.add(gdstk.Reference(d_nmos_1, (8.32,0)))
ringo.add(gdstk.Reference(d_nmos_1, (0.4,0)))
ringo.add(gdstk.Reference(d_nmos_1, (5.68,0)))
ringo.add(gdstk.Reference(d_nmos_1, (3.04,0)))
ringo.add(gdstk.Label('OSC', (24.56,1.8), layer=8, texttype=1))
ringo.add(gdstk.Label('FB', (0,1.8), layer=8, texttype=1))
ringo.add(gdstk.Label('VSS', (0,0), layer=8, texttype=1))
ringo.add(gdstk.Label('VDD', (0,2.8), layer=8, texttype=1))

lib.write_gds('RINGO.gds')
